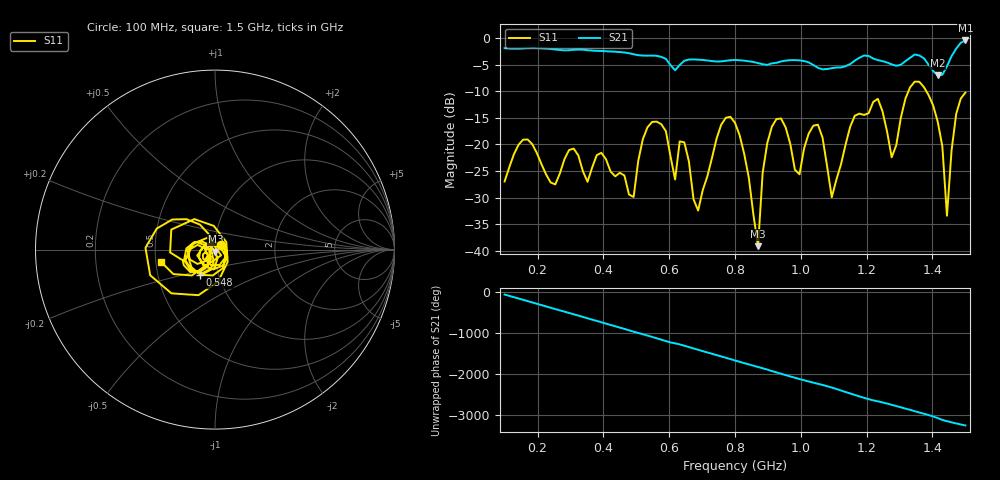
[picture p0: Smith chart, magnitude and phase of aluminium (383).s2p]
! NanoVNA-App
! Date: 2025-09-25 14:58:16
! Start: 100MHz Stop: 1,5GHz Points: 101
! S-Parameter data: F S11 S21 S12 S22
# Hz S RI R 50
!  Frequency  S11_Real  S11_Imag  S21_Real  S21_Imag  S12_Real  S12_Imag  S22_Real  S22_Imag
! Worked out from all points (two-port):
!   101 points, 100 MHz to 1.5 GHz, reference 50 ohm
!   highest |S21| = -0.48 dB at 1.5 GHz (marker M1); lowest = -7.0 dB at 1.416 GHz (marker M2)
!   |S21| within 3 dB of the highest: start of sweep to 570.6 MHz; 1.458 GHz to end of sweep (the widest 2 of 4)
!   lowest |S11| = -39.1 dB at 870 MHz (marker M3), VSWR 1.02, Z = 50.3 - j1.08 ohm
!   |S11| at or under -10 dB: start of sweep to 1.327 GHz; 1.381 GHz to end of sweep
!   S12 and S22 are empty: the file has one direction only
!   S11 on the Smith chart (normalised r, x): 100 MHz: 1.07, +0.06; 548 MHz: 0.82, -0.24; 1.5 GHz: 0.54, -0.08
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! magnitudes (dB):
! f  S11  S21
! 100 MHz  -27.0  -1.9
! 156 MHz  -19.1  -2.0
! 338 MHz  -25.1  -2.2
! 492 MHz  -29.9  -3.1
! 548 MHz  -15.8  -3.3
! 576 MHz  -16.2  -3.5
! 618 MHz  -26.6  -6.1
! 646 MHz  -19.6  -4.3
! 688 MHz  -32.4  -4.1
! 800 MHz  -16.0  -4.1
! 870 MHz  -39.1  -4.7
! 912 MHz  -16.7  -4.8
! 996 MHz  -25.6  -4.2
! 1.038 GHz  -16.5  -5.1
! 1.094 GHz  -29.9  -5.7
! 1.22 GHz  -12.0  -3.9
! 1.276 GHz  -22.4  -5.0
! 1.346 GHz  -8.2  -3.1
! 1.416 GHz  -15.8  -7.0
! 1.444 GHz  -33.4  -5.3
! 1.472 GHz  -14.3  -2.0
! 1.5 GHz  -10.3  -0.5
